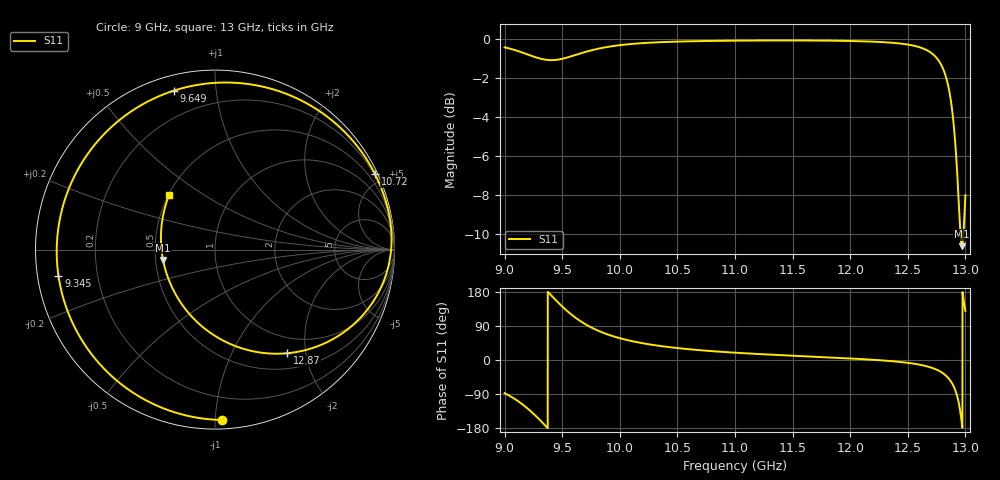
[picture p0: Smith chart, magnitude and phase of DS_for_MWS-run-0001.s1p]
! TOUCHSTONE file generated by CST DESIGN STUDIO
! Date and time: Tue Feb  4 17:52:42 2025
! Project name: C:\Work\MatlabApps\UnitCellOptimizationMatlab\CST\unitcell.cst
! Tree item: Tasks\Sweep1\SPara1\S-Parameters
! Header version: 2024
! Port assignment regex: !\s*Touchstone port\s*([0-9]+)\s*=\s*(CST MWS port|CST DES external port|CST DES block port)\s*(.+)\s* \(\"(.*)\"\)(\s*mode\s*([0-9]+))?.*
! Touchstone port assignment:
! Touchstone port 1 = CST DES external port 1 ("")
# GHz S MA R 50
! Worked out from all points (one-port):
!   4001 points, 9 GHz to 13 GHz, reference 50 ohm
!   lowest |S11| = -10.6 dB at 12.97 GHz (marker M1), VSWR 1.84, Z = 27.4 - j3.47 ohm
!   |S11| at or under -10 dB: 12.95765 GHz to 12.98258 GHz (24.93 MHz wide, 0.192 % of centre)
!   S11 on the Smith chart (normalised r, x): 9 GHz: 0.05, -1.04; 9.345 GHz: 0.06, -0.08; 9.649 GHz: 0.07, +0.77; 10.72 GHz: 0.15, +4.45; 12.87 GHz: 0.73, -1.67; 13 GHz: 0.50, +0.37
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9  0.9501 -87.5
9.096  0.9336 -104.4
9.179  0.9159 -122.8
9.257  0.8986 -143.7
9.345  0.8843 -170.5
9.419  0.8812 165.9
9.5  0.888 141.2
9.573  0.9002 121.6
9.649  0.9149 104.4
9.725  0.9288 90.3
9.818  0.9431 76.5
10  0.9622 57.5
10.216  0.9747 43.3
10.5  0.9826 31.5
10.718  0.9858 25.3
11  0.988 19.3
11.5  0.9892 11.3
12  0.9861 4.1
12.5  0.9655 -7.5
12.648  0.9394 -15.3
12.746  0.8957 -25.0
12.816  0.8236 -37.4
12.871  0.7035 -55.2
12.899  0.6011 -70.1
12.923  0.4853 -89.2
12.945  0.369 -116.8
12.97  0.2951 -168.7
13  0.3984 129.7
